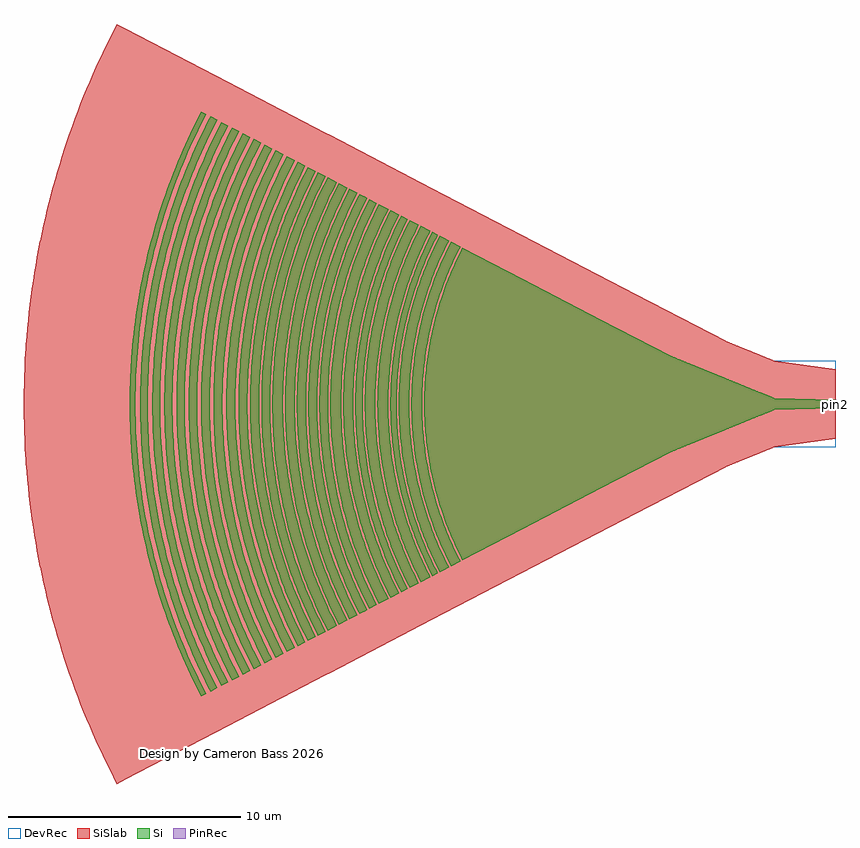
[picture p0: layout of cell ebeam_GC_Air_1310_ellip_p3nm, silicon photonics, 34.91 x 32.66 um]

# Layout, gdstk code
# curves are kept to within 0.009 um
import gdstk
lib = gdstk.Library(unit=1e-6, precision=1e-09)
def P(c, l, *ps):  # polygons
    for p in ps: c.add(gdstk.Polygon(p, *l))
Si = (1, 0)
PinRec = (1, 10)
SiSlab = (2, 0)
DevRec = (68, 0)

ebeam_gc_air_1310_ellip_ = lib.new_cell('ebeam_GC_Air_1310_ellip_p3nm')
P(ebeam_gc_air_1310_ellip_, Si, [(-16.049,-6.72),(-16.413,-5.97),(-16.787,-5.054),(-17.016,-4.385),(-17.281,-3.432),(-17.457,-2.602),(-17.584,-1.763),(-17.662,-0.918),(-17.69,-0.071),(-17.662,0.918),(-17.584,1.763),(-17.457,2.603),(-17.281,3.432),(-17.016,4.385),(-16.787,5.054),(-16.413,5.97),(-16.049,6.72),(-7.15,2.086),(-3.184,0.467),(-2.876,0.353),(-2.691,0.265),(-2.648,0.253),(0,0.175),(0,-0.175),(-2.676,-0.26),(-2.845,-0.34),(-3.199,-0.473),(-7.122,-2.073)],
  [(-16.541,-6.975),(-16.916,-6.2),(-17.253,-5.386),(-17.542,-4.554),(-17.782,-3.707),(-17.973,-2.847),(-18.113,-1.976),(-18.212,-0.954),(-18.242,-0.073),(-18.221,0.807),(-18.131,1.831),(-18,2.703),(-17.817,3.564),(-17.708,3.991),(-17.542,4.554),(-17.253,5.386),(-16.916,6.2),(-16.541,6.976),(-16.133,6.763),(-16.498,6.009),(-16.825,5.22),(-17.105,4.414),(-17.338,3.592),(-17.549,2.619),(-17.677,1.775),(-17.764,0.783),(-17.784,0.071),(-17.764,-0.783),(-17.677,-1.775),(-17.549,-2.618),(-17.372,-3.454),(-17.147,-4.278),(-16.875,-5.087),(-16.498,-6.009),(-16.133,-6.763)],
  [(-17.022,-7.226),(-17.41,-6.424),(-17.759,-5.581),(-18.058,-4.719),(-18.307,-3.841),(-18.504,-2.95),(-18.649,-2.048),(-18.742,-1.14),(-18.769,-0.684),(-18.783,-0.076),(-18.761,0.836),(-18.686,1.746),(-18.629,2.199),(-18.532,2.8),(-18.343,3.693),(-18.189,4.282),(-18.058,4.719),(-17.759,5.581),(-17.41,6.424),(-17.022,7.226),(-16.624,7.019),(-17.061,6.104),(-17.392,5.282),(-17.675,4.441),(-17.909,3.586),(-18.092,2.719),(-18.225,1.843),(-18.306,0.96),(-18.336,0.074),(-18.315,-0.812),(-18.225,-1.843),(-18.092,-2.719),(-17.909,-3.586),(-17.675,-4.441),(-17.392,-5.282),(-17.061,-6.104),(-16.624,-7.019)],
  [(-17.342,-7.393),(-17.739,-6.572),(-18.096,-5.71),(-18.402,-4.828),(-18.657,-3.93),(-18.859,-3.018),(-19.027,-1.941),(-19.113,-1.011),(-19.144,-0.078),(-19.122,0.856),(-19.027,1.941),(-18.887,2.865),(-18.694,3.779),(-18.448,4.679),(-18.151,5.564),(-17.983,6),(-17.739,6.573),(-17.342,7.393),(-17.106,7.269),(-17.557,6.323),(-17.791,5.758),(-17.952,5.328),(-18.101,4.893),(-18.279,4.307),(-18.398,3.864),(-18.536,3.267),(-18.7,2.364),(-18.796,1.605),(-18.855,0.842),(-18.877,0.077),(-18.862,-0.689),(-18.811,-1.452),(-18.7,-2.364),(-18.567,-3.117),(-18.47,-3.566),(-18.32,-4.159),(-18.193,-4.601),(-18.003,-5.183),(-17.791,-5.757),(-17.557,-6.323),(-17.106,-7.269)],
  [(-17.838,-7.651),(-18.044,-7.24),(-18.313,-6.655),(-18.674,-5.759),(-18.982,-4.843),(-19.236,-3.911),(-19.436,-2.965),(-19.58,-2.009),(-19.669,-1.046),(-19.702,-0.08),(-19.678,0.886),(-19.599,1.849),(-19.464,2.807),(-19.343,3.44),(-19.236,3.911),(-18.982,4.843),(-18.674,5.759),(-18.5,6.21),(-18.248,6.803),(-17.838,7.651),(-17.426,7.436),(-17.888,6.469),(-18.183,5.744),(-18.492,4.856),(-18.748,3.953),(-18.98,2.881),(-19.12,1.953),(-19.184,1.33),(-19.216,0.861),(-19.238,0.078),(-19.216,-0.861),(-19.184,-1.33),(-19.12,-1.953),(-18.98,-2.881),(-18.785,-3.8),(-18.538,-4.707),(-18.238,-5.597),(-17.888,-6.469),(-17.426,-7.436)],
  [(-18.318,-7.901),(-18.742,-7.024),(-19.002,-6.412),(-19.181,-5.947),(-19.5,-5.001),(-19.762,-4.038),(-19.968,-3.062),(-20.118,-2.074),(-20.209,-1.081),(-20.243,-0.083),(-20.219,0.915),(-20.137,1.909),(-19.997,2.898),(-19.801,3.877),(-19.638,4.522),(-19.5,5.001),(-19.181,5.947),(-19.002,6.412),(-18.742,7.025),(-18.318,7.901),(-17.923,7.695),(-18.335,6.842),(-18.527,6.396),(-18.763,5.792),(-19.073,4.871),(-19.329,3.933),(-19.53,2.981),(-19.675,2.021),(-19.765,1.053),(-19.798,0.081),(-19.774,-0.891),(-19.694,-1.86),(-19.558,-2.823),(-19.469,-3.3),(-19.329,-3.932),(-19.073,-4.87),(-18.763,-5.792),(-18.527,-6.395),(-18.335,-6.842),(-17.923,-7.695)],
  [(-18.68,-8.089),(-19.114,-7.191),(-19.505,-6.247),(-19.84,-5.282),(-20.032,-4.629),(-20.159,-4.134),(-20.37,-3.135),(-20.523,-2.123),(-20.617,-1.106),(-20.651,-0.085),(-20.627,0.936),(-20.543,1.955),(-20.4,2.967),(-20.272,3.636),(-20.159,4.134),(-20.032,4.629),(-19.84,5.282),(-19.505,6.247),(-19.114,7.191),(-18.68,8.089),(-18.402,7.945),(-18.688,7.368),(-18.962,6.757),(-19.151,6.293),(-19.383,5.665),(-19.541,5.188),(-19.729,4.546),(-19.893,3.897),(-19.999,3.407),(-20.144,2.584),(-20.249,1.754),(-20.314,0.92),(-20.338,0.084),(-20.314,-0.92),(-20.249,-1.754),(-20.144,-2.584),(-19.999,-3.407),(-19.893,-3.897),(-19.729,-4.546),(-19.541,-5.188),(-19.383,-5.665),(-19.151,-6.292),(-18.962,-6.757),(-18.688,-7.368),(-18.402,-7.944)],
  [(-19.138,-8.328),(-19.585,-7.404),(-19.86,-6.758),(-20.049,-6.268),(-20.384,-5.271),(-20.661,-4.256),(-20.878,-3.227),(-21.036,-2.186),(-21.132,-1.139),(-21.168,-0.088),(-21.158,0.614),(-21.132,1.139),(-21.036,2.186),(-20.878,3.227),(-20.661,4.256),(-20.384,5.271),(-20.049,6.268),(-19.656,7.244),(-19.439,7.722),(-19.138,8.328),(-18.765,8.133),(-19.201,7.231),(-19.469,6.6),(-19.653,6.121),(-19.981,5.147),(-20.252,4.156),(-20.464,3.151),(-20.618,2.136),(-20.712,1.113),(-20.747,0.086),(-20.722,-0.942),(-20.638,-1.966),(-20.494,-2.982),(-20.4,-3.487),(-20.252,-4.156),(-19.981,-5.147),(-19.653,-6.121),(-19.27,-7.074),(-19.058,-7.542),(-18.765,-8.133)],
  [(-19.637,-8.588),(-20.096,-7.637),(-20.511,-6.635),(-20.866,-5.61),(-21.162,-4.566),(-21.396,-3.507),(-21.569,-2.435),(-21.679,-1.355),(-21.71,-0.814),(-21.728,-0.09),(-21.702,0.994),(-21.612,2.076),(-21.461,3.151),(-21.325,3.861),(-21.205,4.391),(-20.92,5.437),(-20.696,6.125),(-20.511,6.635),(-20.096,7.637),(-19.637,8.588),(-19.223,8.372),(-19.671,7.443),(-20.076,6.466),(-20.256,5.969),(-20.475,5.299),(-20.711,4.449),(-20.939,3.417),(-21.108,2.374),(-21.186,1.673),(-21.227,1.145),(-21.263,0.088),(-21.258,-0.441),(-21.227,-1.145),(-21.13,-2.198),(-20.972,-3.243),(-20.753,-4.278),(-20.475,-5.298),(-20.256,-5.969),(-20.076,-6.466),(-19.671,-7.443),(-19.223,-8.372)],
  [(-20.052,-8.804),(-20.524,-7.827),(-20.949,-6.8),(-21.314,-5.749),(-21.617,-4.679),(-21.857,-3.594),(-22.034,-2.495),(-22.147,-1.389),(-22.179,-0.834),(-22.197,-0.093),(-22.17,1.019),(-22.079,2.127),(-22.009,2.679),(-21.891,3.412),(-21.661,4.5),(-21.473,5.217),(-21.314,5.749),(-20.949,6.8),(-20.524,7.827),(-20.052,8.804),(-19.725,8.633),(-19.956,8.171),(-20.26,7.511),(-20.471,7.008),(-20.729,6.328),(-20.961,5.639),(-21.166,4.941),(-21.343,4.236),(-21.459,3.702),(-21.616,2.808),(-21.73,1.906),(-21.801,1),(-21.827,0.091),(-21.817,-0.636),(-21.748,-1.725),(-21.643,-2.628),(-21.459,-3.702),(-21.343,-4.235),(-21.166,-4.941),(-20.961,-5.638),(-20.729,-6.328),(-20.471,-7.007),(-20.26,-7.51),(-19.956,-8.171),(-19.725,-8.633)],
  [(-20.472,-9.023),(-20.957,-8.02),(-21.393,-6.967),(-21.766,-5.891),(-22.077,-4.795),(-22.208,-4.24),(-22.358,-3.496),(-22.528,-2.368),(-22.633,-1.234),(-22.672,-0.095),(-22.644,1.044),(-22.55,2.18),(-22.391,3.309),(-22.287,3.869),(-22.122,4.611),(-21.93,5.345),(-21.766,5.891),(-21.393,6.967),(-20.957,8.02),(-20.472,9.023),(-20.137,8.848),(-20.455,8.205),(-20.76,7.525),(-21.038,6.834),(-21.229,6.308),(-21.404,5.778),(-21.614,5.063),(-21.797,4.34),(-21.915,3.794),(-22.076,2.877),(-22.193,1.953),(-22.265,1.024),(-22.292,0.093),(-22.274,-0.838),(-22.211,-1.768),(-22.103,-2.693),(-21.915,-3.794),(-21.797,-4.34),(-21.614,-5.063),(-21.404,-5.778),(-21.229,-6.308),(-20.971,-7.007),(-20.76,-7.525),(-20.455,-8.205),(-20.137,-8.848)],
  [(-20.907,-9.249),(-21.405,-8.218),(-21.851,-7.14),(-22.234,-6.037),(-22.553,-4.914),(-22.687,-4.345),(-22.841,-3.582),(-23.016,-2.427),(-23.123,-1.264),(-23.162,-0.097),(-23.157,0.487),(-23.123,1.264),(-23.016,2.427),(-22.841,3.583),(-22.599,4.725),(-22.292,5.851),(-21.92,6.958),(-21.484,8.041),(-21.158,8.748),(-20.907,9.249),(-20.561,9.068),(-20.889,8.406),(-21.201,7.709),(-21.486,7.001),(-21.682,6.463),(-21.862,5.919),(-22.077,5.187),(-22.22,4.632),(-22.385,3.887),(-22.55,2.948),(-22.67,2.001),(-22.744,1.05),(-22.772,0.096),(-22.753,-0.859),(-22.689,-1.811),(-22.578,-2.759),(-22.385,-3.887),(-22.22,-4.632),(-22.077,-5.187),(-21.862,-5.919),(-21.682,-6.463),(-21.486,-7.001),(-21.201,-7.709),(-20.889,-8.406),(-20.561,-9.068)],
  [(-21.358,-9.484),(-21.702,-8.791),(-21.949,-8.245),(-22.181,-7.693),(-22.396,-7.135),(-22.778,-6),(-23.093,-4.845),(-23.341,-3.674),(-23.52,-2.489),(-23.63,-1.296),(-23.67,-0.1),(-23.665,0.499),(-23.63,1.297),(-23.52,2.489),(-23.341,3.674),(-23.093,4.845),(-22.778,6),(-22.396,7.135),(-22.181,7.694),(-21.949,8.246),(-21.702,8.791),(-21.358,9.484),(-20.991,9.292),(-21.491,8.258),(-21.94,7.174),(-22.325,6.065),(-22.493,5.503),(-22.691,4.746),(-22.934,3.598),(-23.11,2.439),(-23.217,1.271),(-23.246,0.685),(-23.257,0.098),(-23.238,-0.88),(-23.172,-1.856),(-23.059,-2.827),(-22.861,-3.982),(-22.691,-4.746),(-22.493,-5.503),(-22.325,-6.065),(-22.075,-6.807),(-21.797,-7.538),(-21.57,-8.079),(-21.243,-8.789),(-20.991,-9.292)],
  [(-21.846,-9.737),(-22.109,-9.213),(-22.451,-8.468),(-22.689,-7.901),(-22.91,-7.327),(-23.115,-6.748),(-23.302,-6.162),(-23.473,-5.571),(-23.626,-4.976),(-23.762,-4.376),(-23.88,-3.773),(-24.064,-2.556),(-24.177,-1.331),(-24.207,-0.717),(-24.218,-0.102),(-24.189,1.127),(-24.088,2.353),(-23.981,3.165),(-23.88,3.773),(-23.762,4.376),(-23.626,4.976),(-23.473,5.572),(-23.302,6.162),(-23.115,6.748),(-22.91,7.328),(-22.612,8.091),(-22.368,8.656),(-21.846,9.738),(-21.442,9.527),(-21.954,8.467),(-22.414,7.356),(-22.809,6.219),(-23.137,5.062),(-23.276,4.476),(-23.397,3.887),(-23.589,2.7),(-23.711,1.503),(-23.746,0.902),(-23.765,0.1),(-23.736,-1.103),(-23.678,-1.903),(-23.614,-2.501),(-23.434,-3.69),(-23.185,-4.867),(-22.868,-6.028),(-22.485,-7.168),(-22.035,-8.284),(-21.787,-8.832),(-21.442,-9.527)],
  [(-22.26,-9.953),(-22.794,-8.846),(-23.043,-8.269),(-23.275,-7.685),(-23.489,-7.095),(-23.749,-6.298),(-24.08,-5.086),(-24.339,-3.856),(-24.442,-3.235),(-24.527,-2.612),(-24.594,-1.987),(-24.643,-1.361),(-24.685,-0.105),(-24.679,0.524),(-24.655,1.152),(-24.552,2.404),(-24.473,3.028),(-24.376,3.65),(-24.261,4.268),(-24.08,5.086),(-23.749,6.298),(-23.557,6.897),(-23.275,7.685),(-23.043,8.27),(-22.794,8.847),(-22.26,9.953),(-21.93,9.781),(-22.282,9.069),(-22.537,8.507),(-22.852,7.746),(-23.069,7.167),(-23.269,6.583),(-23.508,5.795),(-23.668,5.198),(-23.854,4.395),(-23.973,3.789),(-24.074,3.18),(-24.203,2.159),(-24.283,1.132),(-24.313,0.103),(-24.307,-0.515),(-24.283,-1.132),(-24.203,-2.159),(-24.074,-3.18),(-23.973,-3.789),(-23.854,-4.395),(-23.668,-5.198),(-23.508,-5.794),(-23.269,-6.582),(-23.069,-7.167),(-22.776,-7.937),(-22.537,-8.506),(-22.282,-9.069),(-21.93,-9.781)],
  [(-22.694,-10.179),(-22.971,-9.628),(-23.242,-9.045),(-23.497,-8.455),(-23.734,-7.858),(-23.953,-7.254),(-24.155,-6.644),(-24.397,-5.822),(-24.557,-5.2),(-24.699,-4.573),(-24.822,-3.943),(-24.928,-3.308),(-25.015,-2.671),(-25.083,-2.032),(-25.133,-1.391),(-25.164,-0.75),(-25.176,-0.107),(-25.17,0.536),(-25.145,1.178),(-25.102,1.819),(-25.04,2.458),(-24.959,3.096),(-24.86,3.732),(-24.699,4.573),(-24.557,5.2),(-24.397,5.822),(-24.218,6.44),(-24.022,7.052),(-23.809,7.658),(-23.578,8.257),(-23.329,8.85),(-22.971,9.628),(-22.694,10.179),(-22.347,9.998),(-22.708,9.269),(-22.969,8.694),(-23.291,7.916),(-23.512,7.325),(-23.781,6.527),(-23.961,5.922),(-24.125,5.312),(-24.315,4.492),(-24.507,3.459),(-24.65,2.416),(-24.741,1.367),(-24.772,0.737),(-24.784,0.105),(-24.764,-0.947),(-24.727,-1.577),(-24.672,-2.206),(-24.54,-3.25),(-24.357,-4.286),(-24.224,-4.903),(-24.018,-5.719),(-23.781,-6.527),(-23.512,-7.325),(-23.291,-7.916),(-22.969,-8.694),(-22.708,-9.269),(-22.347,-9.998)],
  [(-23.126,-10.404),(-23.412,-9.835),(-23.689,-9.24),(-23.949,-8.637),(-24.192,-8.027),(-24.416,-7.41),(-24.623,-6.787),(-24.811,-6.158),(-24.981,-5.524),(-25.132,-4.886),(-25.265,-4.243),(-25.379,-3.595),(-25.474,-2.946),(-25.55,-2.294),(-25.622,-1.421),(-25.654,-0.766),(-25.666,-0.109),(-25.66,0.547),(-25.635,1.203),(-25.59,1.858),(-25.527,2.511),(-25.444,3.163),(-25.305,4.028),(-25.178,4.672),(-25.033,5.312),(-24.869,5.948),(-24.687,6.578),(-24.487,7.204),(-24.269,7.823),(-24.032,8.435),(-23.778,9.04),(-23.507,9.638),(-23.126,10.404),(-22.795,10.232),(-23.166,9.481),(-23.519,8.696),(-23.763,8.098),(-23.989,7.493),(-24.264,6.677),(-24.449,6.058),(-24.668,5.225),(-24.811,4.595),(-25.008,3.537),(-25.101,2.899),(-25.176,2.257),(-25.259,1.184),(-25.291,0.108),(-25.27,-0.969),(-25.176,-2.257),(-25.101,-2.898),(-25.008,-3.537),(-24.811,-4.595),(-24.668,-5.225),(-24.449,-6.058),(-24.264,-6.677),(-23.989,-7.493),(-23.763,-8.098),(-23.433,-8.893),(-23.166,-9.481),(-22.795,-10.231)],
  [(-23.595,-10.649),(-23.891,-10.06),(-24.175,-9.452),(-24.441,-8.835),(-24.689,-8.211),(-24.919,-7.58),(-25.13,-6.943),(-25.323,-6.299),(-25.497,-5.651),(-25.652,-4.997),(-25.787,-4.34),(-25.939,-3.456),(-26.03,-2.791),(-26.101,-2.123),(-26.153,-1.454),(-26.186,-0.783),(-26.199,-0.112),(-26.192,0.56),(-26.166,1.231),(-26.121,1.901),(-26.056,2.569),(-25.939,3.457),(-25.828,4.12),(-25.699,4.779),(-25.55,5.434),(-25.383,6.084),(-25.196,6.729),(-24.991,7.369),(-24.768,8.002),(-24.526,8.628),(-24.266,9.247),(-23.988,9.859),(-23.595,10.649),(-23.253,10.47),(-23.541,9.896),(-23.909,9.096),(-24.165,8.487),(-24.478,7.664),(-24.692,7.039),(-24.949,6.196),(-25.173,5.344),(-25.319,4.7),(-25.521,3.617),(-25.67,2.527),(-25.733,1.87),(-25.778,1.211),(-25.81,0.11),(-25.789,-0.991),(-25.751,-1.65),(-25.693,-2.308),(-25.555,-3.401),(-25.319,-4.7),(-25.173,-5.344),(-24.949,-6.196),(-24.692,-7.038),(-24.478,-7.663),(-24.165,-8.487),(-23.909,-9.096),(-23.541,-9.896),(-23.253,-10.47)],
  [(-24.078,-10.9),(-24.384,-10.292),(-24.674,-9.669),(-24.947,-9.038),(-25.201,-8.4),(-25.436,-7.755),(-25.72,-6.884),(-25.911,-6.224),(-26.082,-5.559),(-26.234,-4.889),(-26.367,-4.215),(-26.48,-3.536),(-26.573,-2.855),(-26.646,-2.172),(-26.699,-1.487),(-26.733,-0.801),(-26.746,-0.114),(-26.739,0.573),(-26.713,1.259),(-26.666,1.944),(-26.573,2.856),(-26.48,3.536),(-26.367,4.215),(-26.234,4.889),(-26.082,5.559),(-25.911,6.224),(-25.72,6.884),(-25.436,7.755),(-25.201,8.4),(-24.947,9.039),(-24.674,9.669),(-24.384,10.292),(-24.078,10.9),(-23.741,10.724),(-24.136,9.927),(-24.416,9.311),(-24.762,8.478),(-24.999,7.845),(-25.287,6.99),(-25.481,6.342),(-25.711,5.47),(-25.86,4.811),(-26.067,3.704),(-26.22,2.587),(-26.318,1.464),(-26.351,0.789),(-26.364,0.113),(-26.342,-1.014),(-26.302,-1.689),(-26.244,-2.363),(-26.102,-3.481),(-25.906,-4.59),(-25.763,-5.251),(-25.542,-6.125),(-25.287,-6.99),(-24.999,-7.845),(-24.762,-8.478),(-24.416,-9.311),(-24.039,-10.13),(-23.741,-10.724)],
  [(-24.548,-11.145),(-24.863,-10.52),(-25.16,-9.883),(-25.439,-9.238),(-25.698,-8.586),(-25.939,-7.926),(-26.16,-7.26),(-26.424,-6.362),(-26.6,-5.682),(-26.755,-4.997),(-26.891,-4.308),(-27.006,-3.614),(-27.101,-2.919),(-27.176,-2.22),(-27.231,-1.52),(-27.265,-0.819),(-27.278,-0.117),(-27.265,0.819),(-27.231,1.521),(-27.176,2.221),(-27.101,2.919),(-27.006,3.614),(-26.891,4.308),(-26.755,4.997),(-26.6,5.682),(-26.424,6.362),(-26.16,7.26),(-25.939,7.926),(-25.698,8.586),(-25.439,9.239),(-25.16,9.883),(-24.863,10.52),(-24.548,11.145),(-24.222,10.975),(-24.63,10.154),(-24.917,9.524),(-25.185,8.886),(-25.513,8.024),(-25.808,7.15),(-26.006,6.488),(-26.186,5.819),(-26.394,4.921),(-26.606,3.789),(-26.762,2.646),(-26.863,1.498),(-26.896,0.807),(-26.909,0.115),(-26.903,-0.576),(-26.876,-1.268),(-26.786,-2.417),(-26.706,-3.104),(-26.606,-3.789),(-26.394,-4.921),(-26.186,-5.819),(-26.006,-6.487),(-25.808,-7.15),(-25.513,-8.024),(-25.185,-8.886),(-24.917,-9.524),(-24.63,-10.154),(-24.222,-10.975)],
  [(-25.021,-11.391),(-25.344,-10.75),(-25.648,-10.1),(-25.932,-9.441),(-26.198,-8.774),(-26.443,-8.1),(-26.669,-7.419),(-26.876,-6.731),(-27.062,-6.038),(-27.227,-5.34),(-27.373,-4.637),(-27.497,-3.93),(-27.602,-3.22),(-27.685,-2.507),(-27.748,-1.792),(-27.799,-0.837),(-27.813,-0.12),(-27.806,0.598),(-27.778,1.315),(-27.729,2.031),(-27.66,2.745),(-27.569,3.457),(-27.417,4.402),(-27.278,5.107),(-27.119,5.806),(-26.94,6.501),(-26.74,7.191),(-26.521,7.874),(-26.198,8.774),(-25.932,9.441),(-25.648,10.1),(-25.344,10.75),(-25.021,11.391),(-24.702,11.225),(-25.121,10.382),(-25.414,9.738),(-25.688,9.086),(-26.024,8.205),(-26.253,7.536),(-26.528,6.634),(-26.712,5.95),(-26.925,5.032),(-27.141,3.874),(-27.301,2.706),(-27.37,2.002),(-27.418,1.296),(-27.452,0.118),(-27.445,-0.589),(-27.418,-1.296),(-27.326,-2.471),(-27.178,-3.641),(-27.062,-4.338),(-26.925,-5.032),(-26.712,-5.95),(-26.528,-6.633),(-26.253,-7.536),(-26.024,-8.205),(-25.688,-9.086),(-25.414,-9.738),(-25.019,-10.595),(-24.702,-11.224)],
  [(-25.483,-11.631),(-25.813,-10.976),(-26.123,-10.312),(-26.413,-9.639),(-26.684,-8.958),(-26.935,-8.27),(-27.166,-7.575),(-27.377,-6.873),(-27.567,-6.165),(-27.788,-5.214),(-27.929,-4.495),(-28.05,-3.771),(-28.149,-3.045),(-28.227,-2.317),(-28.284,-1.586),(-28.319,-0.855),(-28.334,-0.122),(-28.319,0.855),(-28.284,1.586),(-28.227,2.317),(-28.149,3.045),(-28.05,3.771),(-27.929,4.495),(-27.788,5.214),(-27.625,5.928),(-27.442,6.638),(-27.239,7.341),(-27.015,8.039),(-26.684,8.959),(-26.413,9.639),(-26.123,10.312),(-25.813,10.976),(-25.483,11.631),(-25.176,11.471),(-25.605,10.609),(-25.904,9.951),(-26.274,9.061),(-26.528,8.384),(-26.836,7.471),(-27.043,6.779),(-27.231,6.08),(-27.398,5.377),(-27.544,4.669),(-27.67,3.959),(-27.833,2.765),(-27.903,2.046),(-27.952,1.325),(-27.987,0.121),(-27.964,-1.084),(-27.922,-1.805),(-27.859,-2.525),(-27.775,-3.243),(-27.67,-3.958),(-27.449,-5.141),(-27.231,-6.08),(-27.043,-6.778),(-26.836,-7.471),(-26.528,-8.384),(-26.274,-9.061),(-25.904,-9.951),(-25.605,-10.609),(-25.176,-11.471)],
  [(-25.948,-11.873),(-26.285,-11.204),(-26.602,-10.526),(-26.898,-9.84),(-27.175,-9.145),(-27.431,-8.442),(-27.667,-7.732),(-27.882,-7.016),(-28.076,-6.293),(-28.301,-5.322),(-28.446,-4.588),(-28.568,-3.849),(-28.67,-3.108),(-28.75,-2.365),(-28.808,-1.619),(-28.844,-0.872),(-28.858,-0.125),(-28.844,0.872),(-28.808,1.619),(-28.75,2.365),(-28.67,3.109),(-28.568,3.85),(-28.446,4.588),(-28.301,5.322),(-28.135,6.051),(-27.949,6.776),(-27.741,7.494),(-27.512,8.206),(-27.263,8.911),(-26.993,9.609),(-26.602,10.526),(-26.285,11.204),(-25.948,11.874),(-25.646,11.716),(-25.978,11.057),(-26.39,10.163),(-26.676,9.482),(-27.027,8.562),(-27.266,7.864),(-27.554,6.923),(-27.745,6.21),(-27.968,5.251),(-28.193,4.043),(-28.36,2.824),(-28.432,2.089),(-28.482,1.353),(-28.518,0.123),(-28.51,-0.615),(-28.482,-1.353),(-28.386,-2.579),(-28.3,-3.312),(-28.193,-4.042),(-27.968,-5.251),(-27.804,-5.971),(-27.554,-6.922),(-27.266,-7.864),(-27.027,-8.562),(-26.676,-9.482),(-26.39,-10.162),(-25.978,-11.056),(-25.646,-11.716)],
  [(-26.407,-12.112),(-26.751,-11.429),(-27.074,-10.738),(-27.376,-10.037),(-27.658,-9.328),(-27.92,-8.611),(-28.16,-7.887),(-28.379,-7.156),(-28.577,-6.42),(-28.807,-5.429),(-28.955,-4.68),(-29.08,-3.927),(-29.183,-3.171),(-29.265,-2.412),(-29.324,-1.652),(-29.361,-0.89),(-29.376,-0.127),(-29.368,0.636),(-29.339,1.398),(-29.287,2.159),(-29.213,2.919),(-29.117,3.675),(-28.955,4.68),(-28.807,5.429),(-28.638,6.173),(-28.448,6.912),(-28.236,7.645),(-28.002,8.371),(-27.748,9.09),(-27.473,9.802),(-27.074,10.738),(-26.751,11.429),(-26.407,12.112),(-26.115,11.96),(-26.454,11.287),(-26.773,10.604),(-27.072,9.912),(-27.439,8.977),(-27.69,8.266),(-27.993,7.308),(-28.258,6.339),(-28.432,5.606),(-28.585,4.868),(-28.716,4.126),(-28.886,2.883),(-28.996,1.632),(-29.032,0.879),(-29.047,0.126),(-29.039,-0.628),(-29.01,-1.381),(-28.913,-2.633),(-28.825,-3.381),(-28.716,-4.126),(-28.585,-4.868),(-28.432,-5.606),(-28.258,-6.339),(-27.993,-7.308),(-27.69,-8.266),(-27.439,-8.976),(-27.072,-9.912),(-26.773,-10.604),(-26.454,-11.286),(-26.115,-11.96)],
  [(-26.877,-12.357),(-27.333,-11.44),(-27.655,-10.731),(-27.957,-10.012),(-28.238,-9.285),(-28.497,-8.551),(-28.735,-7.809),(-28.951,-7.06),(-29.146,-6.305),(-29.318,-5.545),(-29.468,-4.781),(-29.596,-4.011),(-29.702,-3.239),(-29.784,-2.464),(-29.845,-1.687),(-29.883,-0.909),(-29.898,-0.13),(-29.883,0.909),(-29.845,1.687),(-29.784,2.464),(-29.702,3.239),(-29.596,4.011),(-29.468,4.781),(-29.318,5.546),(-29.146,6.305),(-28.951,7.06),(-28.735,7.809),(-28.497,8.551),(-28.238,9.286),(-27.957,10.012),(-27.655,10.731),(-27.333,11.44),(-26.877,12.358),(-26.582,12.204),(-27.039,11.285),(-27.358,10.585),(-27.751,9.638),(-28.021,8.918),(-28.27,8.191),(-28.498,7.456),(-28.705,6.716),(-28.946,5.72),(-29.102,4.967),(-29.236,4.211),(-29.41,2.941),(-29.484,2.176),(-29.536,1.409),(-29.574,0.128),(-29.549,-1.153),(-29.504,-1.92),(-29.437,-2.686),(-29.276,-3.957),(-29.149,-4.715),(-29.001,-5.469),(-28.769,-6.467),(-28.569,-7.21),(-28.349,-7.947),(-28.021,-8.918),(-27.751,-9.638),(-27.358,-10.585),(-27.039,-11.285),(-26.582,-12.203)],
  [(-27.275,-12.565),(-27.632,-11.854),(-27.967,-11.137),(-28.28,-10.411),(-28.572,-9.675),(-28.829,-8.973),(-29.092,-8.181),(-29.319,-7.423),(-29.524,-6.659),(-29.706,-5.889),(-29.866,-5.114),(-30.004,-4.333),(-30.119,-3.551),(-30.236,-2.502),(-30.292,-1.794),(-30.336,-0.923),(-30.351,-0.132),(-30.343,0.659),(-30.313,1.45),(-30.259,2.24),(-30.152,3.289),(-30.045,4.073),(-29.915,4.855),(-29.762,5.631),(-29.587,6.403),(-29.39,7.169),(-29.17,7.929),(-28.929,8.683),(-28.665,9.429),(-28.38,10.167),(-27.967,11.138),(-27.632,11.855),(-27.275,12.565),(-27.061,12.453),(-27.406,11.765),(-27.738,11.054),(-28.148,10.09),(-28.431,9.357),(-28.693,8.617),(-28.933,7.869),(-29.219,6.861),(-29.407,6.099),(-29.672,4.817),(-29.801,4.043),(-29.907,3.265),(-29.991,2.484),(-30.052,1.701),(-30.09,0.916),(-30.105,0.131),(-30.08,-1.178),(-30.034,-1.962),(-29.965,-2.744),(-29.874,-3.524),(-29.76,-4.302),(-29.624,-5.074),(-29.465,-5.843),(-29.284,-6.608),(-29.081,-7.366),(-28.855,-8.119),(-28.521,-9.111),(-28.245,-9.847),(-27.844,-10.814),(-27.519,-11.529),(-27.061,-12.453)])
P(ebeam_gc_air_1310_ellip_, SiSlab, [(-30.904,-16.329),(-31.366,-15.41),(-31.801,-14.477),(-32.208,-13.533),(-32.588,-12.577),(-32.94,-11.61),(-33.264,-10.634),(-33.559,-9.648),(-33.825,-8.655),(-34.062,-7.654),(-34.27,-6.647),(-34.449,-5.634),(-34.598,-4.616),(-34.717,-3.594),(-34.807,-2.569),(-34.867,-1.543),(-34.9,-0.171),(-34.89,0.857),(-34.85,1.885),(-34.781,2.912),(-34.681,3.935),(-34.552,4.956),(-34.393,5.972),(-34.135,7.319),(-33.907,8.322),(-33.651,9.318),(-33.365,10.307),(-33.051,11.286),(-32.709,12.256),(-32.338,13.216),(-31.94,14.164),(-31.366,15.41),(-30.904,16.329),(-4.744,2.708),(-2.65,1.855),(0,1.5),(0,-1.5),(-2.65,-1.855),(-4.728,-2.7)])
P(ebeam_gc_air_1310_ellip_, DevRec, [(-30.904,-16.329),(-31.366,-15.41),(-31.801,-14.477),(-32.208,-13.533),(-32.588,-12.577),(-32.94,-11.61),(-33.264,-10.634),(-33.559,-9.648),(-33.825,-8.655),(-34.062,-7.654),(-34.27,-6.647),(-34.449,-5.634),(-34.598,-4.616),(-34.717,-3.594),(-34.807,-2.569),(-34.867,-1.543),(-34.9,-0.171),(-34.89,0.857),(-34.85,1.885),(-34.781,2.912),(-34.681,3.935),(-34.552,4.956),(-34.393,5.972),(-34.135,7.319),(-33.907,8.322),(-33.651,9.318),(-33.365,10.307),(-33.051,11.286),(-32.709,12.256),(-32.338,13.216),(-31.94,14.164),(-31.366,15.41),(-30.904,16.329),(-4.744,2.708),(-2.65,1.855),(0,1.855),(0,-1.855),(-2.65,-1.855),(-4.728,-2.7)])
ebeam_gc_air_1310_ellip_.add(gdstk.FlexPath([(-0.01,0),(0.01,0)], 0.35, ends="flush", simple_path=True, layer=1, datatype=10))  # PinRec
ebeam_gc_air_1310_ellip_.add(gdstk.Label('pin2', (0,0), layer=1, texttype=10))
ebeam_gc_air_1310_ellip_.add(gdstk.Label('Design by Cameron Bass 2026', (-25.94,-15.02), layer=10, texttype=0))

lib.write_gds('ebeam_GC_Air_1310_ellip_p3nm.gds')
